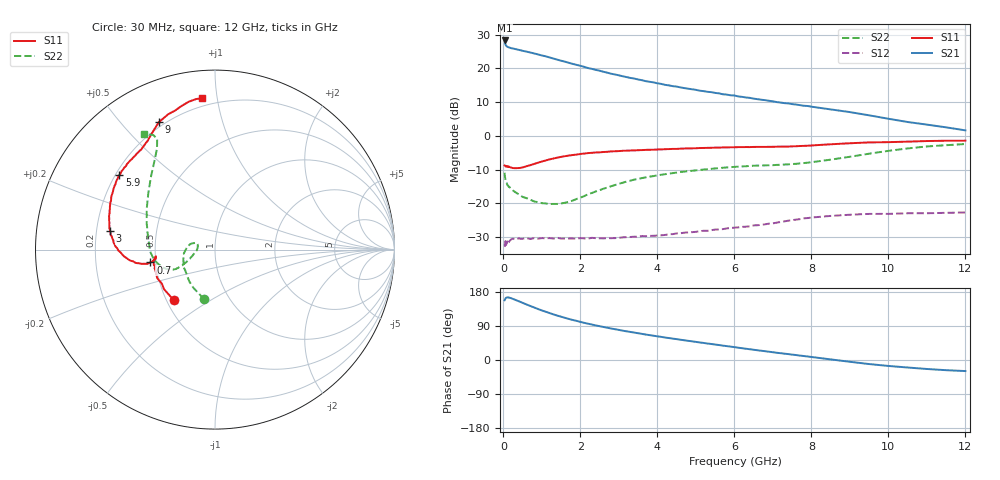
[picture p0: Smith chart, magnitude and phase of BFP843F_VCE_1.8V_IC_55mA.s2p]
! Infineon Technologies  Discrete & RF Semiconductors
! BFP843F
! VCE =  1.8 V,  IC =  55 mA
! Common Emitter S-Parameters:  Aug 2013
# GHz  S  MA  R  50
!  f  S11  S21  S12  S22
! GHz  MAG  ANG  MAG  ANG  MAG  ANG  MAG  ANG
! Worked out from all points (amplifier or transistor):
!   103 points, 30 MHz to 12 GHz, reference 50 ohm
!   highest |S21| = 28.3 dB at 30 MHz (marker M1)
!   |S21| within 3 dB of that: start of sweep to 473 MHz
!   unconditionally stable (mu >= 1): 39.46 MHz to 44.11 MHz; 51.25 MHz to end of sweep
!   at 400 MHz: K = 1.10, MAG = 26.1 dB, |S12| = -30.4 dB
!   at 3.7 GHz: K = 1.47, MAG = 18.9 dB, |S12| = -29.8 dB
!   at 12 GHz: K = 1.17, MAG = 9.7 dB, |S12| = -22.8 dB
!   S11 on the Smith chart (normalised r, x): 30 MHz: 0.54, -0.35; 700 MHz: 0.47, -0.08; 3 GHz: 0.26, +0.08; 5.9 GHz: 0.22, +0.33; 9 GHz: 0.18, +0.64; 12 GHz: 0.15, +0.91
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0.03  0.3631 -129.5  26.05 157.7  0.0245 22.2  0.2831 -102.3
0.04  0.3597 -142.3  24 159.3  0.023 21.5  0.2445 -119.5
0.05  0.3516 -147.2  22.77 162.2  0.0273 22.3  0.2282 -128.7
0.06  0.359 -153.8  22.19 163.3  0.0259 22.0  0.2145 -136.0
0.08  0.3511 -161.2  21.48 164.7  0.0267 12.5  0.2007 -149.9
0.13  0.3465 -168.9  20.66 165.0  0.0263 12.4  0.1788 -168.2
0.5  0.3394 -170.2  18.28 150.7  0.0297 7.9  0.1239 163.2
0.7  0.367 -168.8  17.23 142.4  0.0294 8.4  0.1123 160.3
1  0.4163 -169.0  15.59 130.7  0.0303 6.8  0.1001 163.5
1.3  0.4605 -171.8  14.03 120.3  0.0298 7.9  0.0974 171.2
1.7  0.5099 -175.9  12.12 108.3  0.0299 9.7  0.1048 -176.0
2.1  0.5453 179.2  10.56 98.0  0.03 12.0  0.1275 -165.5
2.5  0.5689 174.8  9.264 89.2  0.0301 15.0  0.1563 -159.5
3  0.5936 169.8  7.903 79.4  0.0306 18.1  0.194 -155.0
4.1  0.6289 158.6  5.898 61.0  0.0333 26.3  0.2644 -155.1
5.1  0.6587 149.3  4.677 46.3  0.0382 31.5  0.3112 -162.4
5.9  0.6754 142.1  3.999 35.3  0.0427 34.0  0.3425 -170.6
6.1  0.6796 140.0  3.843 32.4  0.0437 33.6  0.3486 -173.0
8.5  0.7487 117.0  2.468 1.6  0.0647 29.8  0.4429 149.2
9  0.7758 113.8  2.25 -4.7  0.0674 26.5  0.4889 139.4
10.5  0.8196 103.5  1.604 -19.8  0.0708 19.9  0.6499 119.8
12  0.8465 94.8  1.205 -29.2  0.0728 18.4  0.7559 121.7
